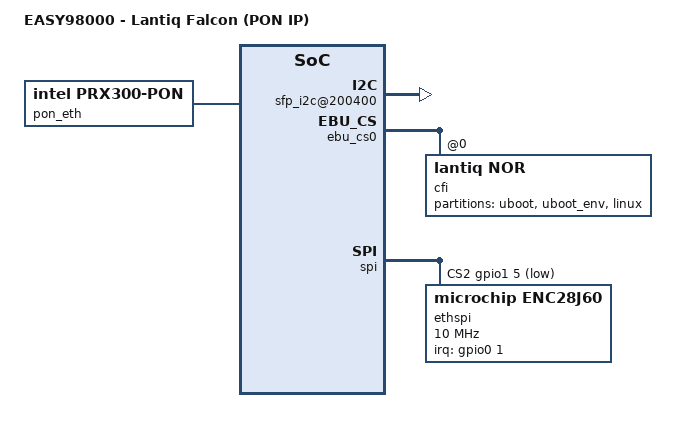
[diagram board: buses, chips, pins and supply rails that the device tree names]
/dts-v1/;

#include <dt-bindings/interrupt-controller/irq.h>
#include "falcon.dtsi"
#include "EASY98000-base.dtsi"

/ {
	model = "EASY98000 - Lantiq Falcon (PON IP)";
	compatible = "lantiq,falcon-easy98000-ponip", "lantiq,falcon-easy98000", "lantiq,falcon";

	aliases {
		spi0 = &spi;
	};

	/* to load the dummy driver, HW is not in chip */
	pon_eth: pon_ethernet@2 {
		compatible = "intel,prx300-pon";
		reg = <2>;
	};

	sbs0@1F000000 {
		sfp_i2c@200400 {
			compatible = "intel,pon-sfp-i2c";
			/* mark this as simulation without HW */
			intel,simulate;
			reg = <0x200400 0x400>,
			      <0x200800 0x800>,
			      <0x201000 0x800>,
			      <0x201800 0x800>,
			      <0x202000 0x1000>,
			      <0x204000 0x4000>;
			reg-names = "genrisc-reg",
				    "host-reg",
				    "mac-ht-reg",
				    "aca-mem",
				    "spram",
				    "iram";
		};
	};
};

&ebu_cs0 {
	cfi@0 {
		compatible = "lantiq,nor";
		bank-width = <2>;
		reg = <0x0 0x4000000>;
		#address-cells = <1>;
		#size-cells = <1>;

		partition@0 {
			label = "uboot";
			reg = <0x00000 0x40000>;
		};

		partition@10000 {
			label = "uboot_env";
			reg = <0x40000 0x40000>;
		};

		partition@20000 {
			label = "linux";
			reg = <0x80000 0x3d0000>;
		};
	};
};

&eth0 {
	/* Disable dm9000 */
	status = "disabled";
};

&pinctrl {
	spi_cs0_pins: spi_cs0_pins {
		spi_cs0_pins {
			lantiq,pins = "io37";
			lantiq,mux = <1>;
			lantiq,output = <1>;
		};
	};
};

&spi {
	cs-gpios = <0>, <0>, <&gpio1 5 GPIO_ACTIVE_LOW>;
	pinctrl-names = "default";
	pinctrl-0 = <&spi_cs0_pins>;

	eeprom@1 {
		status = "disabled";
	};

	ethspi@2 {
		compatible = "microchip,enc28j60";
		device_type = "network";
		reg = <2>;
		spi-max-frequency = <10000000>;
		interrupts = <1 IRQ_TYPE_EDGE_FALLING>;
		interrupt-parent = <&gpio0>;
	};
};
